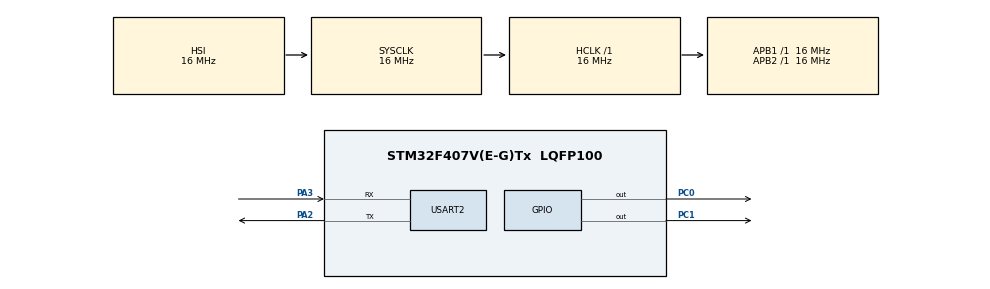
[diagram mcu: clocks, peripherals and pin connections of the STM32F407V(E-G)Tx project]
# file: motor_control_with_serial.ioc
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Mcu.Family=STM32F4
Mcu.Name=STM32F407V(E-G)Tx
Mcu.Package=LQFP100
NVIC.PriorityGroup=NVIC_PRIORITYGROUP_4
NVIC.USART2_IRQn=true\:0\:0\:false\:true\:true\:1\:true\:true\:true
PA2.Mode=Asynchronous
PA2.Signal=USART2_TX
PA3.Mode=Asynchronous
PA3.Signal=USART2_RX
PC0.Signal=GPIO_Output
PC1.Signal=GPIO_Output
ProjectManager.HeapSize=0x200
ProjectManager.StackSize=0x400
ProjectManager.TargetToolchain=STM32CubeIDE
RCC.AHBFreq_Value=16000000
RCC.APB1Freq_Value=16000000
RCC.APB2Freq_Value=16000000
RCC.CortexFreq_Value=16000000
RCC.HSE_VALUE=25000000
RCC.HSI_VALUE=16000000
RCC.LSE_VALUE=32768
RCC.SYSCLKFreq_VALUE=16000000
RCC.VCOOutputFreq_Value=192000000
USART2.VirtualMode=VM_ASYNC
board=custom

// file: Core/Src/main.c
/* USER CODE BEGIN Header */
/**
  ******************************************************************************
  * @file           : main.c
  * @brief          : Main program body
  ******************************************************************************
  * @attention
  *
  * Copyright (c) 2025 STMicroelectronics.
  * All rights reserved.
  *
  * This software is licensed under terms that can be found in the LICENSE file
  * in the root directory of this software component.
  * If no LICENSE file comes with this software, it is provided AS-IS.
  *
  ******************************************************************************
  */
/* USER CODE END Header */
#include "main.h"

UART_HandleTypeDef huart2;
uint8_t rx_data;

void SystemClock_Config(void);
static void MX_GPIO_Init(void);
static void MX_USART2_UART_Init(void);
static void MX_NVIC_Init(void);

int main(void)
{

  /* MCU Configuration--------------------------------------------------------*/

  /* Reset of all peripherals, Initializes the Flash interface and the Systick. */
  HAL_Init();

  /* Configure the system clock */
  SystemClock_Config();

  /* Initialize all configured peripherals */
  MX_GPIO_Init();
  MX_USART2_UART_Init();

  /* Initialize interrupts */
  MX_NVIC_Init();
  /* USER CODE BEGIN 2 */
  HAL_UART_Receive_IT(&huart2, &rx_data, 1);
  HAL_GPIO_WritePin(GPIOC, GPIO_PIN_0|GPIO_PIN_1, GPIO_PIN_RESET);

  /* USER CODE END 2 */

  /* Infinite loop */
  while (1)
  {

  }
}

void SystemClock_Config(void)
{
  RCC_OscInitTypeDef RCC_OscInitStruct = {0};
  RCC_ClkInitTypeDef RCC_ClkInitStruct = {0};

  /** Configure the main internal regulator output voltage
  */
  __HAL_RCC_PWR_CLK_ENABLE();
  __HAL_PWR_VOLTAGESCALING_CONFIG(PWR_REGULATOR_VOLTAGE_SCALE1);

  /** Initializes the RCC Oscillators according to the specified parameters
  * in the RCC_OscInitTypeDef structure.
  */
  RCC_OscInitStruct.OscillatorType = RCC_OSCILLATORTYPE_HSI;
  RCC_OscInitStruct.HSIState = RCC_HSI_ON;
  RCC_OscInitStruct.HSICalibrationValue = RCC_HSICALIBRATION_DEFAULT;
  RCC_OscInitStruct.PLL.PLLState = RCC_PLL_NONE;
  if (HAL_RCC_OscConfig(&RCC_OscInitStruct) != HAL_OK)
  {
    Error_Handler();
  }

  /** Initializes the CPU, AHB and APB buses clocks
  */
  RCC_ClkInitStruct.ClockType = RCC_CLOCKTYPE_HCLK|RCC_CLOCKTYPE_SYSCLK
                              |RCC_CLOCKTYPE_PCLK1|RCC_CLOCKTYPE_PCLK2;
  RCC_ClkInitStruct.SYSCLKSource = RCC_SYSCLKSOURCE_HSI;
  RCC_ClkInitStruct.AHBCLKDivider = RCC_SYSCLK_DIV1;
  RCC_ClkInitStruct.APB1CLKDivider = RCC_HCLK_DIV1;
  RCC_ClkInitStruct.APB2CLKDivider = RCC_HCLK_DIV1;

  if (HAL_RCC_ClockConfig(&RCC_ClkInitStruct, FLASH_LATENCY_0) != HAL_OK)
  {
    Error_Handler();
  }
}

/**
  * @brief NVIC Configuration.
  * @retval None
  */
static void MX_NVIC_Init(void)
{
  /* USART2_IRQn interrupt configuration */
  HAL_NVIC_SetPriority(USART2_IRQn, 0, 0);
  HAL_NVIC_EnableIRQ(USART2_IRQn);
}

static void MX_USART2_UART_Init(void)
{

  huart2.Instance = USART2;
  huart2.Init.BaudRate = 115200;
  huart2.Init.WordLength = UART_WORDLENGTH_8B;
  huart2.Init.StopBits = UART_STOPBITS_1;
  huart2.Init.Parity = UART_PARITY_NONE;
  huart2.Init.Mode = UART_MODE_TX_RX;
  huart2.Init.HwFlowCtl = UART_HWCONTROL_NONE;
  huart2.Init.OverSampling = UART_OVERSAMPLING_16;
  if (HAL_UART_Init(&huart2) != HAL_OK)
  {
    Error_Handler();
  }

}

static void MX_GPIO_Init(void)
{
  GPIO_InitTypeDef GPIO_InitStruct = {0};

  /* GPIO Ports Clock Enable */
  __HAL_RCC_GPIOC_CLK_ENABLE();
  __HAL_RCC_GPIOA_CLK_ENABLE();

  /*Configure GPIO pin Output Level */
  HAL_GPIO_WritePin(GPIOC, GPIO_PIN_0|GPIO_PIN_1, GPIO_PIN_SET);

  /*Configure GPIO pins : PC0 PC1 */
  GPIO_InitStruct.Pin = GPIO_PIN_0|GPIO_PIN_1;
  GPIO_InitStruct.Mode = GPIO_MODE_OUTPUT_PP;
  GPIO_InitStruct.Pull = GPIO_NOPULL;
  GPIO_InitStruct.Speed = GPIO_SPEED_FREQ_LOW;
  HAL_GPIO_Init(GPIOC, &GPIO_InitStruct);
//  HAL_GPIO_WritePin(GPIOC, GPIO_PIN_0|GPIO_PIN_1, GPIO_PIN_RESET);

}

/* USER CODE BEGIN 4 */
void HAL_UART_RxCpltCallback(UART_HandleTypeDef *huart) {
    if (huart->Instance == USART2) {
    	if (rx_data == '0') {
    		Motor_Stop();
    	} else if (rx_data == '1'){
    		Motor_Forward();
    	} else if (rx_data == '2') {
    		Motor_Backward();
    	}
        HAL_UART_Transmit(&huart2, &rx_data, 1, HAL_MAX_DELAY);

        // 다시 수신 대기 (반복적으로 수신하려면 필요)
        HAL_UART_Receive_IT(&huart2, &rx_data, 1);
    }
}

void Motor_Forward(){
	HAL_GPIO_WritePin(GPIOC, GPIO_PIN_0, GPIO_PIN_SET);
	HAL_GPIO_WritePin(GPIOC, GPIO_PIN_1, GPIO_PIN_RESET);
}

void Motor_Backward() {
	HAL_GPIO_WritePin(GPIOC, GPIO_PIN_0, GPIO_PIN_RESET);
	HAL_GPIO_WritePin(GPIOC, GPIO_PIN_1, GPIO_PIN_SET);
}

void Motor_Stop() {
	HAL_GPIO_WritePin(GPIOC, GPIO_PIN_0, GPIO_PIN_RESET);
	HAL_GPIO_WritePin(GPIOC, GPIO_PIN_1, GPIO_PIN_RESET);
}
/* USER CODE END 4 */

void Error_Handler(void)
{
  __disable_irq();
  while (1)
  {
  }
}
